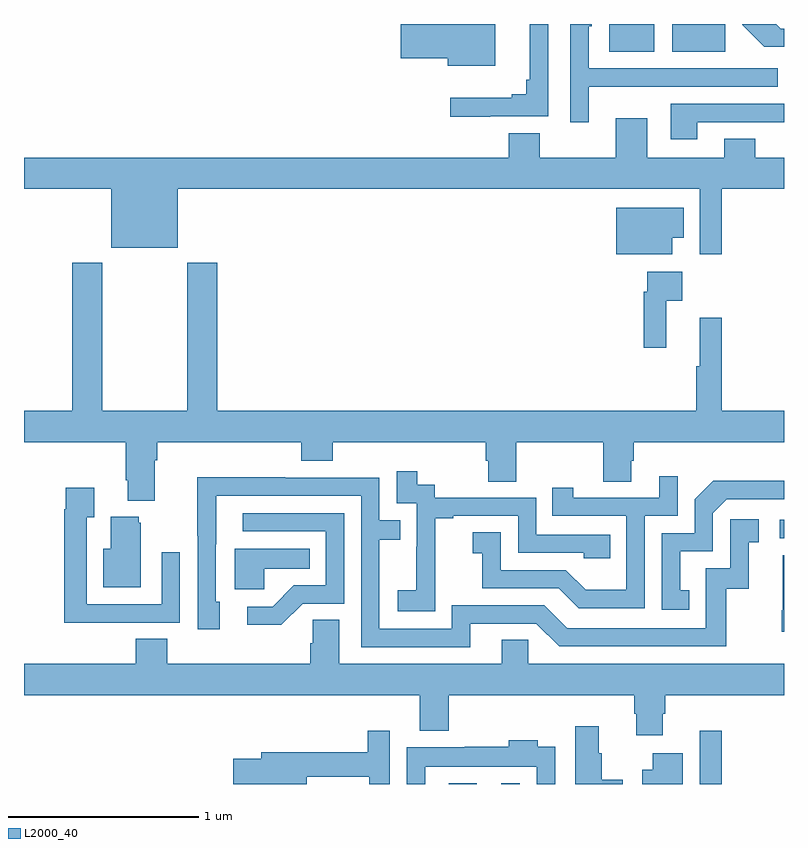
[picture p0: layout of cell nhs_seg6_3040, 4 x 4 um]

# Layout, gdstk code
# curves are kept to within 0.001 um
import gdstk
lib = gdstk.Library(unit=1e-6, precision=1e-09)
def R(c, l, rs):  # rectangles x0, y0, x1, y1
    for r in rs: c.add(gdstk.rectangle(r[:2], r[2:], *l))
def P(c, l, *ps):  # polygons
    for p in ps: c.add(gdstk.Polygon(p, *l))
L2000_40 = (2000, 40)

nhs_seg6_3040 = lib.new_cell('nhs_seg6_3040')
R(nhs_seg6_3040, L2000_40, [(291.236,981.5,291.382,981.505), (291.512,981.5,291.609,981.505), (292.557,981.5,292.673,981.781), (292.977,982.794,293,982.89), (292.079,985.355,292.318,985.5), (292.412,985.355,292.69,985.5)])
P(nhs_seg6_3040, L2000_40, [(291.481,985.5),(290.984,985.5),(290.984,985.319),(291.23,985.319),(291.23,985.28),(291.481,985.28)],
  [(291.973,985.169),(292.307,985.169),(292.307,985.17),(292.967,985.17),(292.967,985.266),(291.972,985.266),(291.972,985.488),(291.988,985.488),(291.988,985.5),(291.876,985.5),(291.876,984.984),(291.973,984.984)],
  [(293,985.476),(292.982,985.476),(292.958,985.5),(292.779,985.5),(292.779,985.496),(292.895,985.38),(293,985.38)],
  [(291.455,985.014),(291.759,985.014),(291.759,985.5),(291.662,985.5),(291.662,985.207),(291.643,985.207),(291.643,985.13),(291.566,985.13),(291.566,985.111),(291.243,985.111),(291.243,985.013),(291.455,985.013)],
  [(292.543,984.984),(292.955,984.984),(292.955,984.983),(293,984.983),(293,985.08),(292.403,985.08),(292.403,984.894),(292.543,984.894)],
  [(292.557,984.288),(292.673,984.288),(292.673,984.632),(293,984.632),(293,984.796),(292.849,984.796),(292.849,984.895),(292.685,984.895),(292.685,984.796),(292.279,984.796),(292.279,985.003),(292.115,985.003),(292.115,984.796),(291.715,984.796),(291.715,984.925),(291.551,984.925),(291.551,984.796),(289,984.796),(289,984.632),(289.46,984.632),(289.46,984.323),(289.81,984.323),(289.81,984.632),(292.557,984.632)],
  [(292.411,984.374),(292.472,984.374),(292.472,984.532),(292.118,984.532),(292.118,984.287),(292.411,984.287)],
  [(289.687,983.204),(289.7,983.204),(289.7,983.3),(290.459,983.3),(290.459,983.201),(290.624,983.201),(290.624,983.3),(291.431,983.3),(291.431,983.202),(291.443,983.202),(291.443,983.092),(291.591,983.092),(291.591,983.3),(292.048,983.3),(292.048,983.092),(292.195,983.092),(292.195,983.202),(292.208,983.202),(292.208,983.3),(293,983.3),(293,983.464),(292.673,983.464),(292.673,983.953),(292.556,983.953),(292.556,983.7),(292.537,983.7),(292.537,983.464),(290.018,983.464),(290.018,984.244),(289.858,984.244),(289.858,983.464),(289.413,983.464),(289.413,984.244),(289.253,984.244),(289.253,983.464),(289,983.464),(289,983.3),(289.535,983.3),(289.535,983.098),(289.547,983.098),(289.547,982.991),(289.687,982.991)],
  [(292.379,984.044),(292.465,984.044),(292.465,984.196),(292.281,984.196),(292.281,984.092),(292.261,984.092),(292.261,983.796),(292.379,983.796)],
  [(291.165,982.615),(291.164,982.615),(291.164,982.899),(291.259,982.899),(291.259,982.911),(291.6,982.911),(291.6,982.716),(291.945,982.716),(291.945,982.689),(292.085,982.689),(292.085,982.812),(291.696,982.812),(291.696,983.007),(291.162,983.007),(291.162,983.076),(291.07,983.076),(291.07,983.146),(290.961,983.146),(290.961,982.977),(291.066,982.977),(291.066,982.748),(291.065,982.748),(291.065,982.519),(290.967,982.519),(290.967,982.409),(291.165,982.409)],
  [(292.266,982.911),(292.44,982.911),(292.44,983.119),(292.343,983.119),(292.343,983.007),(291.892,983.007),(291.892,983.059),(291.781,983.059),(291.781,982.911),(292.17,982.911),(292.17,982.522),(291.956,982.522),(291.852,982.626),(291.51,982.626),(291.51,982.825),(291.363,982.825),(291.363,982.715),(291.412,982.715),(291.412,982.53),(291.815,982.53),(291.92,982.425),(292.266,982.425)],
  [(291.349,982.344),(291.696,982.344),(291.816,982.224),(292.696,982.224),(292.696,982.527),(292.814,982.527),(292.814,982.773),(292.867,982.773),(292.867,982.894),(292.716,982.894),(292.716,982.635),(292.587,982.635),(292.587,982.32),(291.858,982.32),(291.738,982.44),(291.252,982.44),(291.252,982.317),(290.871,982.317),(290.871,982.786),(290.981,982.786),(290.981,982.887),(290.871,982.887),(290.871,983.112),(290.375,983.112),(290.375,983.114),(289.912,983.114),(289.912,982.807),(289.914,982.807),(289.914,982.314),(290.029,982.314),(290.029,982.458),(290.01,982.458),(290.011,983.016),(290.775,983.016),(290.775,982.221),(291.349,982.221)],
  [(292.502,982.521),(292.453,982.521),(292.453,982.725),(292.626,982.725),(292.626,982.926),(292.698,982.998),(293,982.998),(293,983.096),(292.628,983.096),(292.53,982.998),(292.53,982.821),(292.356,982.821),(292.356,982.416),(292.502,982.416)],
  [(289.505,982.35),(289.821,982.35),(289.821,982.72),(289.725,982.72),(289.725,982.446),(289.329,982.446),(289.329,982.903),(289.369,982.903),(289.369,983.059),(289.221,983.059),(289.221,982.946),(289.213,982.946),(289.213,982.349),(289.505,982.349)],
  [(290.466,982.449),(290.685,982.449),(290.685,982.926),(290.151,982.926),(290.151,982.83),(290.589,982.83),(290.589,982.545),(290.42,982.545),(290.309,982.434),(290.175,982.434),(290.175,982.337),(290.353,982.337)],
  [(289.615,982.875),(289.604,982.875),(289.604,982.906),(289.457,982.906),(289.457,982.738),(289.418,982.738),(289.418,982.535),(289.615,982.535)],
  [(290.265,982.634),(290.504,982.634),(290.504,982.738),(290.108,982.738),(290.108,982.526),(290.265,982.526)],
  [(293,982.705),(292.994,982.705),(292.994,982.414),(292.987,982.414),(292.987,982.302),(293,982.302)],
  [(292.363,981.87),(292.376,981.87),(292.376,981.968),(293,981.968),(293,982.132),(291.654,982.132),(291.654,982.259),(291.515,982.259),(291.515,982.132),(290.659,982.132),(290.659,982.364),(290.52,982.364),(290.52,982.241),(290.507,982.241),(290.507,982.132),(289.754,982.132),(289.754,982.265),(289.589,982.265),(289.589,982.132),(289,982.132),(289,981.968),(291.083,981.968),(291.083,981.779),(291.236,981.779),(291.236,981.968),(292.211,981.968),(292.211,981.87),(292.223,981.87),(292.223,981.756),(292.363,981.756)],
  [(292.15,981.522),(292.042,981.522),(292.042,981.663),(292.024,981.663),(292.024,981.805),(291.902,981.805),(291.902,981.5),(292.15,981.5)],
  [(290.488,981.538),(290.817,981.538),(290.817,981.5),(290.925,981.5),(290.925,981.781),(290.809,981.781),(290.809,981.667),(290.249,981.667),(290.249,981.633),(290.1,981.633),(290.1,981.5),(290.488,981.5)],
  [(291.111,981.59),(291.699,981.59),(291.699,981.5),(291.795,981.5),(291.795,981.697),(291.703,981.697),(291.703,981.73),(291.551,981.73),(291.551,981.697),(291.319,981.697),(291.319,981.694),(291.015,981.694),(291.015,981.5),(291.111,981.5)],
  [(292.468,981.661),(292.31,981.661),(292.31,981.574),(292.253,981.574),(292.253,981.5),(292.468,981.5)])

lib.write_gds('nhs_seg6_3040.gds')
